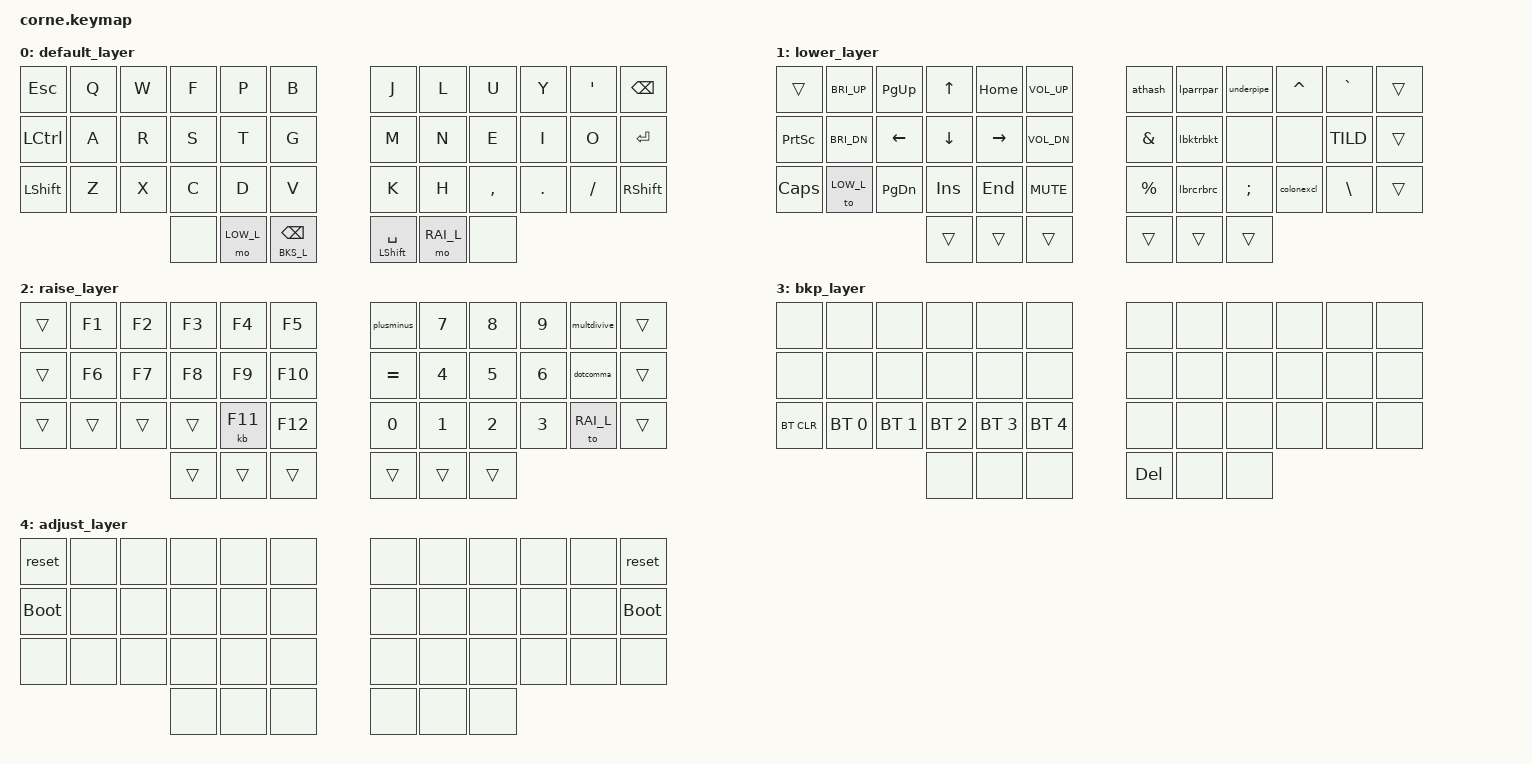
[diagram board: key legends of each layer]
/*
 * Copyright (c) 2020 The ZMK Contributors
 *
 * SPDX-License-Identifier: MIT
 */

#include <behaviors.dtsi>
#include <dt-bindings/zmk/keys.h>
#include <dt-bindings/zmk/bt.h>

#define DEFAULT 0
#define LOW_L   1
#define RAI_L   2
#define BKS_L   3

/ {
        conditional_layers {
                compatible = "zmk,conditional-layers";
                tri_layer {
                        if-layers = <1 2>;
                        then-layer = <3>;
                };
        };
       
        behaviors {               
                colonexcl: colon_excl {
                        compatible = "zmk,behavior-mod-morph";
                        label = "COLON_EXCL";
                        #binding-cells = <0>;
                        bindings = <&kp COLON>, <&kp EXCL>;
                        mods = <(MOD_LSFT|MOD_RSFT)>;
                };
                underpipe: under_pipe {
                        compatible = "zmk,behavior-mod-morph";
                        label = "UNDER_PIPE";
                        #binding-cells = <0>;
                        bindings = <&kp UNDER>, <&kp PIPE>;
                        mods = <(MOD_LSFT|MOD_RSFT)>;
                };
                athash: at_hash {
                        compatible = "zmk,behavior-mod-morph";
                        label = "AT_HASH";
                        #binding-cells = <0>;
                        bindings = <&kp AT>, <&kp HASH>;
                        mods = <(MOD_LSFT|MOD_RSFT)>;
                };
                bkspdel: bksp_del {
                        compatible = "zmk,behavior-mod-morph";
                        label = "BKSP_DEL";
                        #binding-cells = <0>;
                        bindings = <&kp BKSP>, <&kp DEL>;
                        mods = <(MOD_LSFT|MOD_RSFT)>;
                };
        };
        
        keymap {
                compatible = "zmk,keymap";

                default_layer {
                        bindings = <
// ╭───────────────┬───────────────┬───────────────┬───────────────┬───────────────┬───────────────╮   ╭───────────────┬───────────────┬───────────────┬───────────────┬───────────────┬───────────────╮
   &kp ESC         &kp Q           &kp W           &kp F           &kp P           &kp B               &kp J           &kp L           &kp U           &kp Y           &kp SQT         &kp BKSP
// ├───────────────┼───────────────┼───────────────┼───────────────┼───────────────┼───────────────┤   ├───────────────┼───────────────┼───────────────┼───────────────┼───────────────┼───────────────┤
   &kp LCTRL       &kp A           &kp R           &kp S           &kp T           &kp G               &kp M           &kp N           &kp E           &kp I           &kp O           &kp RETURN
// ├───────────────┼───────────────┼───────────────┼───────────────┼───────────────┼───────────────┤   ├───────────────┼───────────────┼───────────────┼───────────────┼───────────────┼───────────────┤
   &kp LSHFT       &kp Z           &kp X           &kp C           &kp D           &kp V               &kp K           &kp H           &kp COMMA       &kp DOT         &kp SLASH       &kp RSHFT
// ╰───────────────┴───────────────┴───────────────┼───────────────┼───────────────┼───────────────┤   ├───────────────┼───────────────┼───────────────┼───────────────┴───────────────┴───────────────╯
                                                   &none           &mo LOW_L       &lt BKS_L BKSP      &ht LSHFT SPACE &mo RAI_L       &none
//                                                 ╰───────────────┴───────────────┴───────────────╯   ╰───────────────┴───────────────┴───────────────╯
                        >;
                };
    
                lower_layer {
                        bindings = <
// ╭───────────────┬───────────────┬───────────────┬───────────────┬───────────────┬───────────────╮   ╭───────────────┬───────────────┬───────────────┬───────────────┬───────────────┬───────────────╮
   &trans          &kp C_BRI_UP    &kp PG_UP       &kp UP          &kp HOME        &kp C_VOL_UP        &athash         &lparrpar       &underpipe      &kp CARET       &kp GRAVE       &trans 
// ├───────────────┼───────────────┼───────────────┼───────────────┼───────────────┼───────────────┤   ├───────────────┼───────────────┼───────────────┼───────────────┼───────────────┼───────────────┤
   &kp PRINTSCREEN &kp C_BRI_DN    &kp LEFT        &kp DOWN        &kp RIGHT       &kp C_VOL_DN        &kp AMPERSAND   &lbktrbkt       &none           &none           &kp TILD        &trans
// ├───────────────┼───────────────┼───────────────┼───────────────┼───────────────┼───────────────┤   ├───────────────┼───────────────┼───────────────┼───────────────┼───────────────┼───────────────┤
   &kp CAPSLOCK    &to LOW_L       &kp PG_DN       &kp INSERT      &kp END         &kp C_MUTE          &kp PERCENT     &lbrcrbrc       &kp SEMICOLON   &colonexcl      &kp BACKSLASH   &trans
// ╰───────────────┴───────────────┴───────────────┼───────────────┼───────────────┼───────────────┤   ├───────────────┼───────────────┼───────────────┼───────────────┴───────────────┴───────────────╯
                                                   &trans          &trans          &trans              &trans          &trans          &trans
//                                                 ╰───────────────┴───────────────┴───────────────╯   ╰───────────────┴───────────────┴───────────────╯
                        >;
                };

                raise_layer {
                        bindings = <
// ╭───────────────┬───────────────┬───────────────┬───────────────┬───────────────┬───────────────╮   ╭───────────────┬───────────────┬───────────────┬───────────────┬───────────────┬───────────────╮
   &trans          &kp F1          &kp F2          &kp F3          &kp F4          &kp F5              &plusminus      &kp N7          &kp N8          &kp N9          &multdivive     &trans
// ├───────────────┼───────────────┼───────────────┼───────────────┼───────────────┼───────────────┤   ├───────────────┼───────────────┼───────────────┼───────────────┼───────────────┼───────────────┤
   &trans          &kp F6          &kp F7          &kp F8          &kp F9          &kp F10             &kp EQUAL       &kp N4          &kp N5          &kp N6          &dotcomma       &trans
// ├───────────────┼───────────────┼───────────────┼───────────────┼───────────────┼───────────────┤   ├───────────────┼───────────────┼───────────────┼───────────────┼───────────────┼───────────────┤
   &trans          &trans          &trans          &trans          &kb F11         &kp F12             &kp N0          &kp N1          &kp N2          &kp N3          &to RAI_L       &trans
// ╰───────────────┴───────────────┴───────────────┼───────────────┼───────────────┼───────────────┤   ├───────────────┼───────────────┼───────────────┼───────────────┴───────────────┴───────────────╯
                    	                           &trans          &trans          &trans              &trans          &trans          &trans
//                                                 ╰───────────────┴───────────────┴───────────────╯   ╰───────────────┴───────────────┴───────────────╯
                        >;
                };

                bkp_layer {
                        bindings = <
// ╭───────────────┬───────────────┬───────────────┬───────────────┬───────────────┬───────────────╮   ╭───────────────┬───────────────┬───────────────┬───────────────┬───────────────┬───────────────╮
   &none           &none           &none           &none           &none           &none               &none           &none           &none           &none           &none           &none           
// ├───────────────┼───────────────┼───────────────┼───────────────┼───────────────┼───────────────┤   ├───────────────┼───────────────┼───────────────┼───────────────┼───────────────┼───────────────┤
   &none           &none           &none           &none           &none           &none               &none           &none           &none           &none           &none           &none           
// ├───────────────┼───────────────┼───────────────┼───────────────┼───────────────┼───────────────┤   ├───────────────┼───────────────┼───────────────┼───────────────┼───────────────┼───────────────┤
   &bt BT_CLR      &bt BT_SEL 0    &bt BT_SEL 1    &bt BT_SEL 2    &bt BT_SEL 3    &bt BT_SEL 4        &none           &none           &none           &none           &none           &none           
// ╰───────────────┴───────────────┴───────────────┼───────────────┼───────────────┼───────────────┤   ├───────────────┼───────────────┼───────────────┼───────────────┴───────────────┴───────────────╯
                    	                           &none           &none           &none               &kp DEL         &none           &none           
//                                                 ╰───────────────┴───────────────┴───────────────╯   ╰───────────────┴───────────────┴───────────────╯
                        >;
                };

                adjust_layer {
                        bindings = <
// ╭───────────────┬───────────────┬───────────────┬───────────────┬───────────────┬───────────────╮   ╭───────────────┬───────────────┬───────────────┬───────────────┬───────────────┬───────────────╮
   &reset          &none           &none           &none           &none           &none               &none           &none           &none           &none           &none           &reset 
// ├───────────────┼───────────────┼───────────────┼───────────────┼───────────────┼───────────────┤   ├───────────────┼───────────────┼───────────────┼───────────────┼───────────────┼───────────────┤
   &bootloader     &none           &none           &none           &none           &none               &none           &none           &none           &none           &none           &bootloader
// ├───────────────┼───────────────┼───────────────┼───────────────┼───────────────┼───────────────┤   ├───────────────┼───────────────┼───────────────┼───────────────┼───────────────┼───────────────┤
   &none           &none           &none           &none           &none           &none               &none           &none           &none           &none           &none           &none
// ╰───────────────┴───────────────┴───────────────┼───────────────┼───────────────┼───────────────┤   ├───────────────┼───────────────┼───────────────┼───────────────┴───────────────┴───────────────╯
                                                   &none           &none           &none               &none           &none           &none
//                                                 ╰───────────────┴───────────────┴───────────────╯   ╰───────────────┴───────────────┴───────────────╯
                        >;
                };
        };
};
